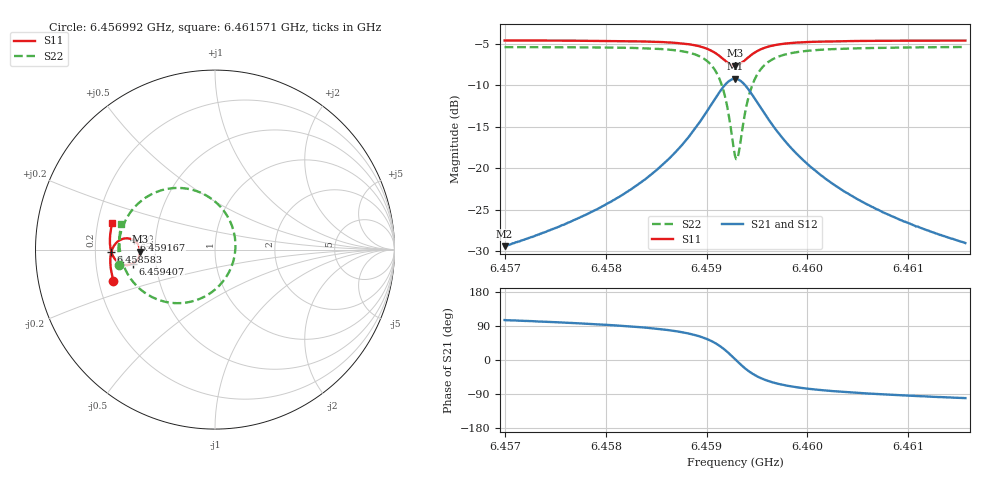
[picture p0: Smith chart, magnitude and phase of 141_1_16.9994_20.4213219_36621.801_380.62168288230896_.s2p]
#  HZ  S  RI  R  50.00
! Rohde & Schwarz Vector Network Analyzer
! Rohde-Schwarz,ZNB20-2Port,1311601062101988,3.16
! Created: UTC 3/20/2024, 10:58:20 PM
! freq[Hz]  re:S11  im:S11  re:S21  im:S21  re:S12  im:S12  re:S22  im:S22
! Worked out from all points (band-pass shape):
!   401 points, 6.456992 GHz to 6.461571 GHz, reference 50 ohm
!   highest |S21| = -9.19 dB at 6.459281 GHz (marker M1); lowest = -29.4 dB at 6.456992 GHz (marker M2)
!   |S21| within 3 dB of the highest: 6.459052 GHz to 6.45951 GHz (457.6 kHz wide, 0.00708 % of centre)
!   lowest |S11| = -7.6 dB at 6.459281 GHz (marker M3), VSWR 2.43, Z = 20.6 - j0.573 ohm
!   |S11| at or under -10 dB: nowhere
!   |S22| runs from -18.9 to -5.3 dB; largest |S21 - S12| = 0.014
!   S11 on the Smith chart (normalised r, x): 6.456992 GHz: 0.26, -0.14; 6.458583 GHz: 0.27, -0.01; 6.459167 GHz: 0.37, +0.05; 6.459407 GHz: 0.37, -0.07; 6.461571 GHz: 0.26, +0.12
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6.4569916e9  -0.5664 -0.1724  -0.00896 0.0325  -0.00721 0.0325  -0.5328 -0.0841
6.4577586e9  -0.5804 -0.1053  -0.00558 0.0507  -0.00307 0.05  -0.5381 0.00585
6.4581479e9  -0.5834 -0.0665  -0.000335 0.0681  0.00275 0.0668  -0.5311 0.0669
6.4585256e9  -0.5796 -0.0215  0.0143 0.0991  0.0181 0.0965  -0.5041 0.151
6.4585829e9  -0.5777 -0.0136  0.0184 0.1061  0.0226 0.1031  -0.4961 0.1675
6.4587889e9  -0.5647 0.0186  0.0463 0.1387  0.0503 0.1337  -0.4441 0.2403
6.4589377e9  -0.5418 0.0451  0.0918 0.1694  0.0949 0.1628  -0.3606 0.3049
6.4590751e9  -0.4977 0.0626  0.1794 0.186  0.1804 0.1788  -0.2004 0.3435
6.4591667e9  -0.4527 0.0523  0.2698 0.1547  0.2702 0.1487  -0.0333 0.2925
6.4592354e9  -0.4235 0.0198  0.3305 0.0821  0.3329 0.0769  0.0822 0.1619
6.4592812e9  -0.4167 -0.0115  0.347 0.0137  0.3507 0.00684  0.1138 0.0343
6.4592926e9  -0.4171 -0.0196  0.3467 -0.004  0.3506 -0.0116  0.1134 0.000571
6.4593155e9  -0.4206 -0.0354  0.341 -0.0389  0.3448 -0.048  0.1019 -0.0655
6.4593613e9  -0.4362 -0.0617  0.3121 -0.0989  0.3143 -0.1108  0.0435 -0.1783
6.4594071e9  -0.4585 -0.078  0.2697 -0.14  0.2688 -0.1533  -0.0419 -0.253
6.4594987e9  -0.5023 -0.0849  0.1847 -0.1711  0.1786 -0.1825  -0.2112 -0.2985
6.4596475e9  -0.5463 -0.0644  0.0966 -0.1572  0.0881 -0.1632  -0.3786 -0.2486
6.4598078e9  -0.568 -0.0368  0.0516 -0.1291  0.0441 -0.1318  -0.459 -0.1764
6.4600482e9  -0.5809 -0.00125  0.0225 -0.0975  0.0166 -0.0982  -0.507 -0.094
6.4603916e9  -0.5856 0.0397  0.00634 -0.0707  0.00238 -0.0701  -0.5284 -0.0149
6.4608151e9  -0.5838 0.0824  -0.00127 -0.052  -0.00421 -0.0511  -0.5326 0.053
6.4615707e9  -0.572 0.1493  -0.00643 -0.0346  -0.00816 -0.0338  -0.5215 0.1426
